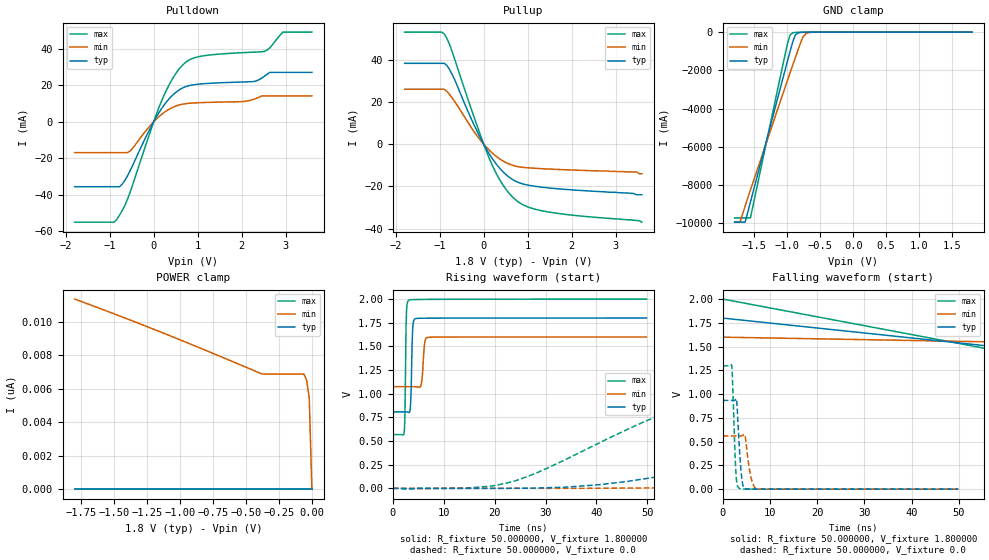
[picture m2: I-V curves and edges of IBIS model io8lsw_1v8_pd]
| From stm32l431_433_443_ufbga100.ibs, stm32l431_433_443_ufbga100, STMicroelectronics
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|   Model io8lsw_1v8_pd
[Model]  io8lsw_1v8_pd
Model_type I/O
Polarity   Non-Inverting
Enable   Active-Low
Vinl =   0.540000V
Vinh =   1.260000V
Vmeas =  0.900000V
Cref =   100.000000nF
Rref =   1.000000k
Vref =   1.800000V
C_comp   3.002600pF   2.845500pF   3.023700pF
[Temperature Range]   25.000000   0.125000k   -40.000000
[Pullup Reference]   1.800000V   1.600000V   2.000000V
[Pulldown Reference]   0.0V   0.0V   0.0V
[POWER Clamp Reference]   1.800000V   1.600000V   2.000000V
[GND Clamp Reference]   0.0V   0.0V   0.0V
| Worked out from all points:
|   slope of the pulldown table from 0 to 0.27 V, typ, clamps not added: 26.4 ohm
|   slope of the pullup table from 0 to 0.27 V, typ, clamps not added: 30.1 ohm
|   GND clamp passes 1 mA (typ) near -0.58 V on its own axis
|   rising waveform, R_fixture 50.000000, V_fixture 1.800000: 20-80 % time 262ps typ, 403ps min, 194ps max; typ from 0.808 V to 1.8 V
|   rising waveform, R_fixture 50.000000, V_fixture 0.0: 20-80 % time 64.5ns typ, 115ns min, 35.9ns max; typ from 0 V to 0.933 V
|   falling waveform, R_fixture 50.000000, V_fixture 1.800000: 20-80 % time 119ns typ, 162ns min, 92ns max; typ from 1.8 V to 0.808 V
|   falling waveform, R_fixture 50.000000, V_fixture 0.0: 20-80 % time 711ps typ, 1.02ns min, 550ps max; typ from 0.933 V to 0 V
[Pulldown]
|Voltage   I(typ)   I(min)   I(max)
-1.8V     -35.64mA   -16.93mA   -55.1mA
-840mV    -35.64mA   -16.93mA   -53.52mA
-720mV    -34.31mA   -16.93mA   -48.86mA
-540mV    -27.04mA   -16.13mA   -38.89mA
240mV     9.303mA    5.14mA     14.78mA
480mV     15.67mA    8.374mA    25.64mA
720mV     19.18mA    9.883mA    32.46mA
1.14V     20.87mA    10.54mA    36.19mA
2.28V     22.08mA    12.36mA    38.18mA
2.52V     24.95mA    14.17mA    38.63mA
2.94V     27.08mA    14.17mA    49.18mA
3.6V      27.08mA    14.17mA    49.18mA
[Pullup]
|Voltage   I(typ)   I(min)   I(max)
-1.8V     38.4mA     26.13mA    53.24mA
-900mV    38.4mA     26.13mA    52.41mA
-840mV    37.46mA    25.13mA    50.32mA
-720mV    33.23mA    22.05mA    44.01mA
-240mV    10.08mA    6.588mA    14.1mA
120mV     -4.38mA    -2.702mA   -6.45mA
420mV     -12.68mA   -7.723mA   -18.77mA
720mV     -17.48mA   -10.36mA   -26.28mA
1.02V     -19.45mA   -11.2mA    -29.89mA
1.44V     -20.65mA   -11.73mA   -32.03mA
3.48V     -24mA      -13.1mA    -36.2mA
3.6V      -24mA      -14mA      -37mA
[GND_clamp]
|Voltage   I(typ)   I(min)   I(max)
-1.8V     -9.93A     -9.932A    -9.707A
-1.72V    -9.93A     -9.932A    -9.707A
-1.64V    -9.93A     -9.083A    -9.707A
-1.56V    -8.876A    -8.251A    -9.707A
-1V       -1.54A     -2.541A    -631mA
-960mV    -1.028A    -2.139A    -153.8mA
-920mV    -527mA     -1.74A     -39.13mA
-880mV    -155.7mA   -1.344A    -18.02mA
-840mV    -45.33mA   -953mA     -12.69mA
-760mV    -8.431mA   -235mA     -7.631mA
-680mV    -3.453mA   -33.02mA   -3.876mA
1.8V      47.6uA     51.88uA    39.21uA
[POWER_clamp]
|Voltage   I(typ)   I(min)   I(max)
-1.8V     0A         11.37nA    0A
-1.14V    0A         9.374nA    0A
-380mV    0A         6.895nA    0A
-60mV     0A         6.881nA    0A
-40mV     0A         6.518nA    0A
-20mV     0A         5.452nA    0A
0V        0A         0A         0A
[Ramp]
| variable   typ   min   max
dV/dt_r  0.56008/64.46347n   0.33626/0.11513u   0.77826/35.85093n
dV/dt_f  0.59456/66.70169n   0.31128/0.11346u   0.85886/35.25965n
R_load = 50.000000
[Rising Waveform]
R_fixture= 50.000000
V_fixture= 1.800000
V_fixture_min= 1.600000
V_fixture_max= 2.000000
|time   V(typ)   V(min)   V(max)
0s        807.9mV    1.074V     568mV
2.202ns   808mV      1.074V     575.7mV
2.402ns   808mV      1.074V     804.4mV
2.703ns   807.6mV    1.074V     1.883V
3.203ns   800.9mV    1.074V     1.989V
3.504ns   892.4mV    1.074V     1.992V
3.904ns   1.684V     1.074V     1.993V
4.404ns   1.791V     1.074V     1.994V
6.807ns   1.798V     1.593V     1.996V
49.85ns   1.799V     1.599V     1.999V
[Rising Waveform]
R_fixture= 50.000000
V_fixture= 0.0
V_fixture_min= 0.0
V_fixture_max= 0.0
|time   V(typ)   V(min)   V(max)
0s        3.019nV    73.58nV    2.158nV
14.41ns   -63.81uV   -37.06uV   2.552mV
24.02ns   1.131mV    -18.48uV   79.36mV
54.05ns   143.6mV    5.762mV    806.1mV
72.07ns   334.5mV    24.97mV    1.088V
104.5ns   636mV      113.1mV    1.256V
135.7ns   800.6mV    225.6mV    1.285V
168.2ns   877.7mV    332.9mV    1.294V
259.5ns   929mV      501.1mV    1.297V
598.2ns   933.5mV    560.6mV    1.297V
[Falling Waveform]
R_fixture= 50.000000
V_fixture= 1.800000
V_fixture_min= 1.600000
V_fixture_max= 2.000000
|time   V(typ)   V(min)   V(max)
0s        1.799V     1.599V     1.999V
150.2ns   1.015V     1.467V     597.5mV
300.3ns   819.8mV    1.138V     568.6mV
450.5ns   808.8mV    1.087V     568mV
750.8ns   807.9mV    1.074V     568mV
14.86us   807.9mV    1.074V     568mV
[Falling Waveform]
R_fixture= 50.000000
V_fixture= 0.0
V_fixture_min= 0.0
V_fixture_max= 0.0
|time   V(typ)   V(min)   V(max)
0s        933.5mV    560.6mV    1.297V
1.902ns   933.5mV    560.6mV    1.304V
2.803ns   952.7mV    560.6mV    157.7mV
3.003ns   888mV      560.6mV    55.52mV
3.504ns   440.7mV    560.3mV    8.05mV
4.304ns   34.29mV    566.7mV    2.032mV
4.705ns   7.07mV     566mV      1.67mV
6.206ns   187.4uV    79.04mV    1.344mV
7.207ns   19.16uV    3.83mV     1.247mV
49.85ns   3.019nV    73.58nV    2.158nV
